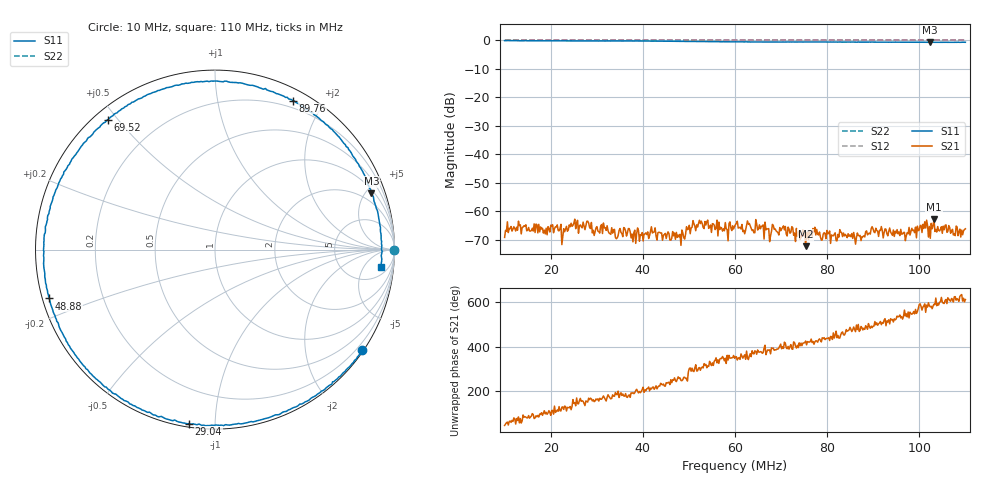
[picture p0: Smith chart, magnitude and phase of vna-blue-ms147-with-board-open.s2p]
! Anritsu VNA Master:  Model: MS2034B/10/19/501
! SN:  1337062
! /bd0/ovro-jan-2016/vna-jan/vna-blue-ms147-with-board-open.s2p
! Existing Calibration Information:
! TYPE:  Current Settings,  Active Cal Settings
! TIME:  01/13/2016 12:44:36 PM,  01/12/2016 05:57:47 PM
! INTERNAL TEMP:  44.3 C,  46.0 C
! # POINTS:  500,  500
! START FREQ:  10.000 MHz,  10.000 MHz
! STOP FREQ:  110.000 MHz,  110.000 MHz
! SOURCE POWER:  Low,  Low
! IFBW:  100 Hz,  1 kHz
! AVG FACTOR:  1 ,  3
! REF PLANE 1:  0 mm,  0 mm
! REF PLANE 2:  0 mm,  0 mm
! CAL TYPE:  1P2P S11,S21,  1P2P S11,S21
! CAL METHOD:  SOLT,  SOLT
! CAL LINE TYPE:  Coax,  Coax
! DUT PORT 1:  K-Conn(M),  K-Conn(M)
! DUT PORT 2:  N-Conn(M),  N-Conn(M)
! CAL STATUS:  OK: Accuracy High,  --
# GHZ S DB R 50.0
! FREQ.GHZ  S11DB  S11A  S21DB  S21A  S12DB  S12A  S22DB  S22A
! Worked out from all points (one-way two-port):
!   500 points, 10 MHz to 110 MHz, reference 50 ohm
!   highest |S21| = -62.69 dB at 103.2 MHz (marker M1); lowest = -72.2 dB at 75.33 MHz (marker M2)
!   lowest |S11| = -0.7 dB at 102.4 MHz (marker M3), VSWR 25.84, Z = 62.5 + j273 ohm
!   |S11| at or under -10 dB: nowhere
!   |S22| runs from 0.0 to 0.0 dB; largest |S21 - S12| = 1
!   S11 on the Smith chart (normalised r, x): 10 MHz: 0.03, -3.24; 29.04 MHz: 0.02, -0.86; 48.88 MHz: 0.02, -0.14; 69.52 MHz: 0.04, +0.47; 89.76 MHz: 0.12, +1.65; 110 MHz: 9, -13
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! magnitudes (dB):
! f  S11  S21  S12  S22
! 10 MHz  -0.1  -69.1  0.0  0.0
! 13.01 MHz  -0.1  -63.4  0.0  0.0
! 22.83 MHz  -0.2  -66.1  0.0  0.0
! 24.83 MHz  -0.2  -64.9  0.0  0.0
! 26.83 MHz  -0.2  -65.8  0.0  0.0
! 29.04 MHz  -0.2  -67.5  0.0  0.0
! 43.47 MHz  -0.2  -67.3  0.0  0.0
! 48.88 MHz  -0.3  -69.1  0.0  0.0
! 52.48 MHz  -0.4  -64.3  0.0  0.0
! 58.1 MHz  -0.5  -66.1  0.0  0.0
! 60.1 MHz  -0.5  -64.6  0.0  0.0
! 69.52 MHz  -0.6  -68.3  0.0  0.0
! 75.33 MHz  -0.5  -72.2  0.0  0.0
! 76.73 MHz  -0.5  -68.7  0.0  0.0
! 85.95 MHz  -0.6  -68.9  0.0  0.0
! 89.76 MHz  -0.6  -65.3  0.0  0.0
! 93.37 MHz  -0.6  -66.9  0.0  0.0
! 97.17 MHz  -0.6  -68.6  0.0  0.0
! 101.2 MHz  -0.6  -63.6  0.0  0.0
! 102.4 MHz  -0.7  -69.4  0.0  0.0
! 103.2 MHz  -0.7  -62.7  0.0  0.0
! 110 MHz  -0.6  -66.1  0.0  0.0
